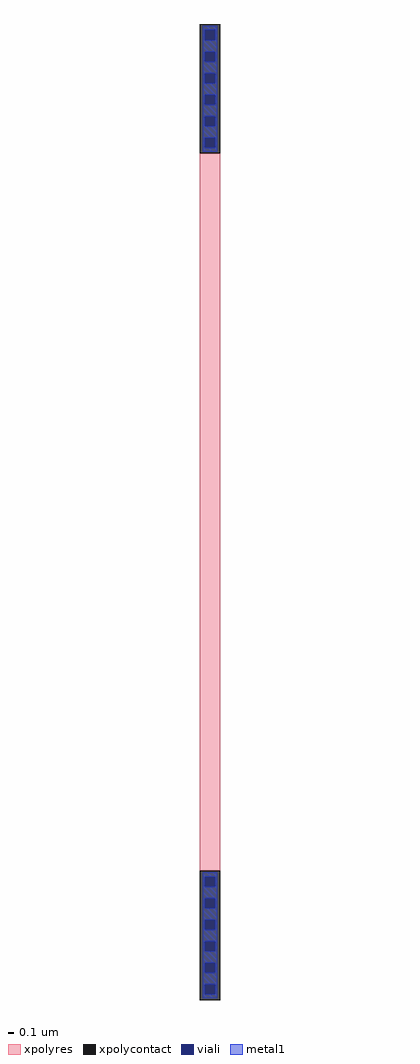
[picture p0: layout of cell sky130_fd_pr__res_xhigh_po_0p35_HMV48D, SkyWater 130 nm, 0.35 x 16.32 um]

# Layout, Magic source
magic
tech sky130A
magscale 1 2
<< xpolycontact >>
rect -35 1200 35 1632
rect -35 -1632 35 -1200
<< xpolyres >>
rect -35 -1200 35 1200
<< viali >>
rect -17 1578 17 1612
rect -17 1506 17 1540
rect -17 1434 17 1468
rect -17 1362 17 1396
rect -17 1290 17 1324
rect -17 1218 17 1252
rect -17 -1253 17 -1219
rect -17 -1325 17 -1291
rect -17 -1397 17 -1363
rect -17 -1469 17 -1435
rect -17 -1541 17 -1507
rect -17 -1613 17 -1579
<< metal1 >>
rect -25 1612 25 1626
rect -25 1578 -17 1612
rect 17 1578 25 1612
rect -25 1540 25 1578
rect -25 1506 -17 1540
rect 17 1506 25 1540
rect -25 1468 25 1506
rect -25 1434 -17 1468
rect 17 1434 25 1468
rect -25 1396 25 1434
rect -25 1362 -17 1396
rect 17 1362 25 1396
rect -25 1324 25 1362
rect -25 1290 -17 1324
rect 17 1290 25 1324
rect -25 1252 25 1290
rect -25 1218 -17 1252
rect 17 1218 25 1252
rect -25 1205 25 1218
rect -25 -1219 25 -1205
rect -25 -1253 -17 -1219
rect 17 -1253 25 -1219
rect -25 -1291 25 -1253
rect -25 -1325 -17 -1291
rect 17 -1325 25 -1291
rect -25 -1363 25 -1325
rect -25 -1397 -17 -1363
rect 17 -1397 25 -1363
rect -25 -1435 25 -1397
rect -25 -1469 -17 -1435
rect 17 -1469 25 -1435
rect -25 -1507 25 -1469
rect -25 -1541 -17 -1507
rect 17 -1541 25 -1507
rect -25 -1579 25 -1541
rect -25 -1613 -17 -1579
rect 17 -1613 25 -1579
rect -25 -1626 25 -1613
<< end >>
